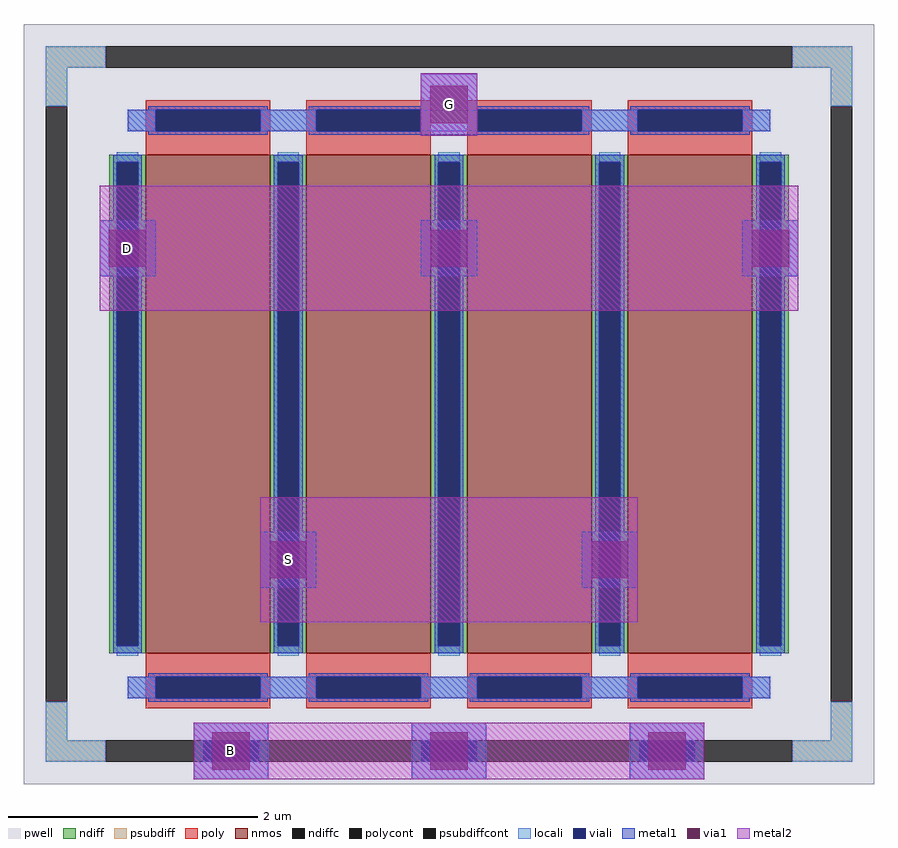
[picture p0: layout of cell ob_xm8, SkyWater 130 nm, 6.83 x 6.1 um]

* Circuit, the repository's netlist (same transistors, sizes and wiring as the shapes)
* NGSPICE file created from ob_xm8.ext - technology: sky130A

.subckt ob_n16_l1_f4 B D0 G S1 D2 S3 a_487_n400#
X0 S1 G D0 B sky130_fd_pr__nfet_01v8 ad=0.58 pd=4.29 as=1.16 ps=8.58 w=4 l=1
X1 a_487_n400# G S3 B sky130_fd_pr__nfet_01v8 ad=1.16 pd=8.58 as=0.58 ps=4.29 w=4 l=1
X2 D2 G S1 B sky130_fd_pr__nfet_01v8 ad=0.58 pd=4.29 as=0.58 ps=4.29 w=4 l=1
X3 S3 G D2 B sky130_fd_pr__nfet_01v8 ad=0.58 pd=4.29 as=0.58 ps=4.29 w=4 l=1
.ends

.subckt ob_xm8 D S G B
Xu_dev B D G S D S D ob_n16_l1_f4
.ends

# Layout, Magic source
magic
tech sky130A
magscale 1 2
use ob_n16_l1_f4 u_dev
transform 1 0 0 0 1 0
box -683 -610 683 610
<< viali >>
rect -395 -574 -305 -540
rect -45 -574 45 -540
rect 305 -574 395 -540
<< metal1 >>
rect -561 205 -471 295
rect -45 205 45 295
rect 471 205 561 295
rect -303 -295 -213 -205
rect 213 -295 303 -205
rect -45 432 45 530
rect -410 -602 -290 -512
rect -60 -602 60 -512
rect 290 -602 410 -512
<< via1 >>
rect -546 220 -486 280
rect -30 220 30 280
rect 486 220 546 280
rect -288 -280 -228 -220
rect 228 -280 288 -220
rect -30 451 30 511
rect -380 -587 -320 -527
rect -30 -587 30 -527
rect 320 -587 380 -527
<< metal2 >>
rect -561 150 561 350
rect -303 -350 303 -150
rect -45 431 45 531
rect -410 -602 410 -512
<< labels >>
rlabel metal2 -516 250 -516 250 0 D
port 1 nsew
rlabel metal2 -258 -250 -258 -250 0 S
port 2 nsew
rlabel metal2 0 481 0 481 0 G
port 3 nsew
rlabel metal2 -350 -557 -350 -557 0 B
port 4 nsew
<< end >>

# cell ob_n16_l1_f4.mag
magic
tech sky130A
magscale 1 2
<< pwell >>
rect -683 -610 683 610
<< nmos >>
rect -487 -400 -287 400
rect -229 -400 -29 400
rect 29 -400 229 400
rect 287 -400 487 400
<< ndiff >>
rect -545 388 -487 400
rect -545 -388 -533 388
rect -499 -388 -487 388
rect -545 -400 -487 -388
rect -287 388 -229 400
rect -287 -388 -275 388
rect -241 -388 -229 388
rect -287 -400 -229 -388
rect -29 388 29 400
rect -29 -388 -17 388
rect 17 -388 29 388
rect -29 -400 29 -388
rect 229 388 287 400
rect 229 -388 241 388
rect 275 -388 287 388
rect 229 -400 287 -388
rect 487 388 545 400
rect 487 -388 499 388
rect 533 -388 545 388
rect 487 -400 545 -388
<< ndiffc >>
rect -533 -388 -499 388
rect -275 -388 -241 388
rect -17 -388 17 388
rect 241 -388 275 388
rect 499 -388 533 388
<< psubdiff >>
rect -647 540 -551 574
rect 551 540 647 574
rect -647 478 -613 540
rect 613 478 647 540
rect -647 -540 -613 -478
rect 613 -540 647 -478
rect -647 -574 -551 -540
rect 551 -574 647 -540
<< psubdiffcont >>
rect -551 540 551 574
rect -647 -478 -613 478
rect 613 -478 647 478
rect -551 -574 551 -540
<< poly >>
rect -487 472 -287 488
rect -487 438 -471 472
rect -303 438 -287 472
rect -487 400 -287 438
rect -229 472 -29 488
rect -229 438 -213 472
rect -45 438 -29 472
rect -229 400 -29 438
rect 29 472 229 488
rect 29 438 45 472
rect 213 438 229 472
rect 29 400 229 438
rect 287 472 487 488
rect 287 438 303 472
rect 471 438 487 472
rect 287 400 487 438
rect -487 -438 -287 -400
rect -487 -472 -471 -438
rect -303 -472 -287 -438
rect -487 -488 -287 -472
rect -229 -438 -29 -400
rect -229 -472 -213 -438
rect -45 -472 -29 -438
rect -229 -488 -29 -472
rect 29 -438 229 -400
rect 29 -472 45 -438
rect 213 -472 229 -438
rect 29 -488 229 -472
rect 287 -438 487 -400
rect 287 -472 303 -438
rect 471 -472 487 -438
rect 287 -488 487 -472
<< polycont >>
rect -471 438 -303 472
rect -213 438 -45 472
rect 45 438 213 472
rect 303 438 471 472
rect -471 -472 -303 -438
rect -213 -472 -45 -438
rect 45 -472 213 -438
rect 303 -472 471 -438
<< locali >>
rect -647 540 -551 574
rect 551 540 647 574
rect -647 478 -613 540
rect 613 478 647 540
rect -516 438 -471 472
rect -303 438 -213 472
rect -45 438 45 472
rect 213 438 303 472
rect 471 438 516 472
rect -533 388 -499 404
rect -533 -404 -499 -388
rect -275 388 -241 404
rect -275 -404 -241 -388
rect -17 388 17 404
rect -17 -404 17 -388
rect 241 388 275 404
rect 241 -404 275 -388
rect 499 388 533 404
rect 499 -404 533 -388
rect -516 -472 -471 -438
rect -303 -472 -213 -438
rect -45 -472 45 -438
rect 213 -472 303 -438
rect 471 -472 516 -438
rect -647 -540 -613 -478
rect 613 -540 647 -478
rect -647 -574 -551 -540
rect 551 -574 647 -540
<< viali >>
rect -471 438 -303 472
rect -213 438 -45 472
rect 45 438 213 472
rect 303 438 471 472
rect -533 -388 -499 388
rect -275 -388 -241 388
rect -17 -388 17 388
rect 241 -388 275 388
rect 499 -388 533 388
rect -471 -472 -303 -438
rect -213 -472 -45 -438
rect 45 -472 213 -438
rect 303 -472 471 -438
<< metal1 >>
rect -483 472 -291 478
rect -225 472 -33 478
rect 33 472 225 478
rect 291 472 483 478
rect -516 438 -471 472
rect -303 438 -213 472
rect -45 438 45 472
rect 213 438 303 472
rect 471 438 516 472
rect -483 432 -291 438
rect -225 432 -33 438
rect 33 432 225 438
rect 291 432 483 438
rect -539 388 -493 400
rect -539 -388 -533 388
rect -499 -388 -493 388
rect -539 -400 -493 -388
rect -281 388 -235 400
rect -281 -388 -275 388
rect -241 -388 -235 388
rect -281 -400 -235 -388
rect -23 388 23 400
rect -23 -388 -17 388
rect 17 -388 23 388
rect -23 -400 23 -388
rect 235 388 281 400
rect 235 -388 241 388
rect 275 -388 281 388
rect 235 -400 281 -388
rect 493 388 539 400
rect 493 -388 499 388
rect 533 -388 539 388
rect 493 -400 539 -388
rect -483 -438 -291 -432
rect -225 -438 -33 -432
rect 33 -438 225 -432
rect 291 -438 483 -432
rect -516 -472 -471 -438
rect -303 -472 -213 -438
rect -45 -472 45 -438
rect 213 -472 303 -438
rect 471 -472 516 -438
rect -483 -478 -291 -472
rect -225 -478 -33 -472
rect 33 -478 225 -472
rect 291 -478 483 -472
<< labels >>
rlabel psubdiffcont 0 -557 0 -557 0 B
port 1 nsew
rlabel ndiffc -516 0 -516 0 0 D0
port 2 nsew
rlabel polycont -387 455 -387 455 0 G
port 3 nsew
rlabel ndiffc -258 0 -258 0 0 S1
port 4 nsew
rlabel polycont -129 455 -129 455 0 G
port 3 nsew
rlabel ndiffc 0 0 0 0 0 D2
port 5 nsew
rlabel polycont 129 455 129 455 0 G
port 3 nsew
rlabel ndiffc 258 0 258 0 0 S3
port 6 nsew
rlabel polycont 387 455 387 455 0 G
port 3 nsew
<< properties >>
string FIXED_BBOX -630 -557 630 557
<< end >>
